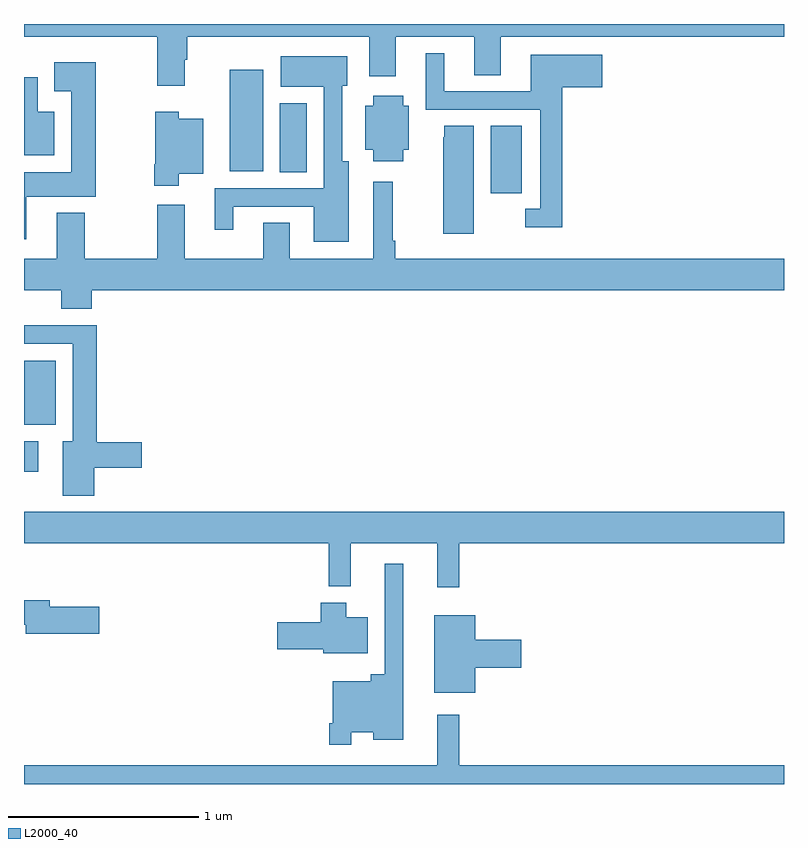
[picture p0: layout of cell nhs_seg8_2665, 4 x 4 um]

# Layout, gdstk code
import gdstk
lib = gdstk.Library(unit=1e-6, precision=1e-09)
def R(c, l, rs):  # rectangles x0, y0, x1, y1
    for r in rs: c.add(gdstk.rectangle(r[:2], r[2:], *l))
def P(c, l, *ps):  # polygons
    for p in ps: c.add(gdstk.Polygon(p, *l))
L2000_40 = (2000, 40)

nhs_seg8_2665 = lib.new_cell('nhs_seg8_2665')
R(nhs_seg8_2665, L2000_40, [(279,1115.544,279.076,1115.703), (279,1115.792,279.166,1116.127), (281.456,1117.008,281.62,1117.364), (280.346,1117.12,280.489,1117.483), (280.082,1117.124,280.258,1117.66)])
P(nhs_seg8_2665, L2000_40, [(279.847,1117.712),(279.86,1117.712),(279.86,1117.832),(280.817,1117.832),(280.817,1117.626),(280.957,1117.626),(280.957,1117.832),(281.369,1117.832),(281.369,1117.63),(281.509,1117.63),(281.509,1117.832),(283,1117.832),(283,1117.9),(279,1117.9),(279,1117.832),(279.7,1117.832),(279.7,1117.575),(279.847,1117.575)],
  [(281.834,1117.568),(282.043,1117.568),(282.043,1117.738),(281.666,1117.738),(281.666,1117.545),(281.212,1117.545),(281.212,1117.747),(281.114,1117.747),(281.114,1117.449),(281.718,1117.449),(281.718,1116.927),(281.637,1116.927),(281.637,1116.83),(281.834,1116.83)],
  [(280.708,1117.177),(280.674,1117.177),(280.674,1117.575),(280.702,1117.575),(280.702,1117.729),(280.35,1117.729),(280.35,1117.571),(280.578,1117.571),(280.578,1117.035),(280.004,1117.035),(280.004,1116.816),(280.102,1116.816),(280.102,1116.939),(280.526,1116.939),(280.526,1116.755),(280.708,1116.755)],
  [(279.013,1116.992),(279.378,1116.992),(279.378,1117.699),(279.158,1117.699),(279.158,1117.547),(279.248,1117.547),(279.248,1117.12),(279,1117.12),(279,1116.768),(279.013,1116.768)],
  [(279.16,1117.438),(279.073,1117.438),(279.073,1117.621),(279,1117.621),(279,1117.208),(279.16,1117.208)],
  [(280.996,1117.238),(281.026,1117.238),(281.026,1117.471),(280.996,1117.471),(280.996,1117.522),(280.838,1117.522),(280.838,1117.471),(280.796,1117.471),(280.796,1117.238),(280.838,1117.238),(280.838,1117.178),(280.996,1117.178)],
  [(279.814,1117.112),(279.943,1117.112),(279.943,1117.402),(279.814,1117.402),(279.814,1117.438),(279.692,1117.438),(279.692,1117.162),(279.685,1117.162),(279.685,1117.05),(279.814,1117.05)],
  [(281.368,1117.364),(281.213,1117.364),(281.213,1117.305),(281.207,1117.305),(281.207,1116.795),(281.368,1116.795)],
  [(279.356,1116.5),(283,1116.5),(283,1116.664),(280.955,1116.664),(280.955,1116.76),(280.94,1116.76),(280.94,1117.069),(280.838,1117.069),(280.838,1116.664),(280.399,1116.664),(280.399,1116.854),(280.259,1116.854),(280.259,1116.664),(279.847,1116.664),(279.847,1116.949),(279.7,1116.949),(279.7,1116.664),(279.321,1116.664),(279.321,1116.907),(279.173,1116.907),(279.173,1116.664),(279,1116.664),(279,1116.5),(279.196,1116.5),(279.196,1116.401),(279.356,1116.401)],
  [(279.37,1115.564),(279.619,1115.564),(279.619,1115.699),(279.383,1115.699),(279.383,1116.314),(279,1116.314),(279,1116.216),(279.257,1116.216),(279.257,1115.704),(279.203,1115.704),(279.203,1115.418),(279.37,1115.418)],
  [(281.291,1115.168),(283,1115.168),(283,1115.332),(279,1115.332),(279,1115.168),(280.603,1115.168),(280.603,1114.94),(280.721,1114.94),(280.721,1115.168),(281.174,1115.168),(281.174,1114.935),(281.291,1114.935)],
  [(280.722,1114.172),(280.838,1114.172),(280.838,1114.133),(280.996,1114.133),(280.996,1115.059),(280.899,1115.059),(280.899,1114.477),(280.826,1114.477),(280.826,1114.441),(280.626,1114.441),(280.626,1114.219),(280.606,1114.219),(280.606,1114.107),(280.722,1114.107)],
  [(279.397,1114.833),(279.136,1114.833),(279.136,1114.867),(279,1114.867),(279,1114.738),(279.008,1114.738),(279.008,1114.691),(279.397,1114.691)],
  [(280.81,1114.777),(280.696,1114.777),(280.696,1114.855),(280.562,1114.855),(280.562,1114.752),(280.332,1114.752),(280.332,1114.61),(280.574,1114.61),(280.574,1114.589),(280.81,1114.589)],
  [(281.374,1114.511),(281.617,1114.511),(281.617,1114.658),(281.374,1114.658),(281.374,1114.789),(281.159,1114.789),(281.159,1114.379),(281.374,1114.379)],
  [(283,1114),(281.291,1114),(281.291,1114.264),(281.174,1114.264),(281.174,1114),(279,1114),(279,1113.9),(283,1113.9)])

lib.write_gds('nhs_seg8_2665.gds')
